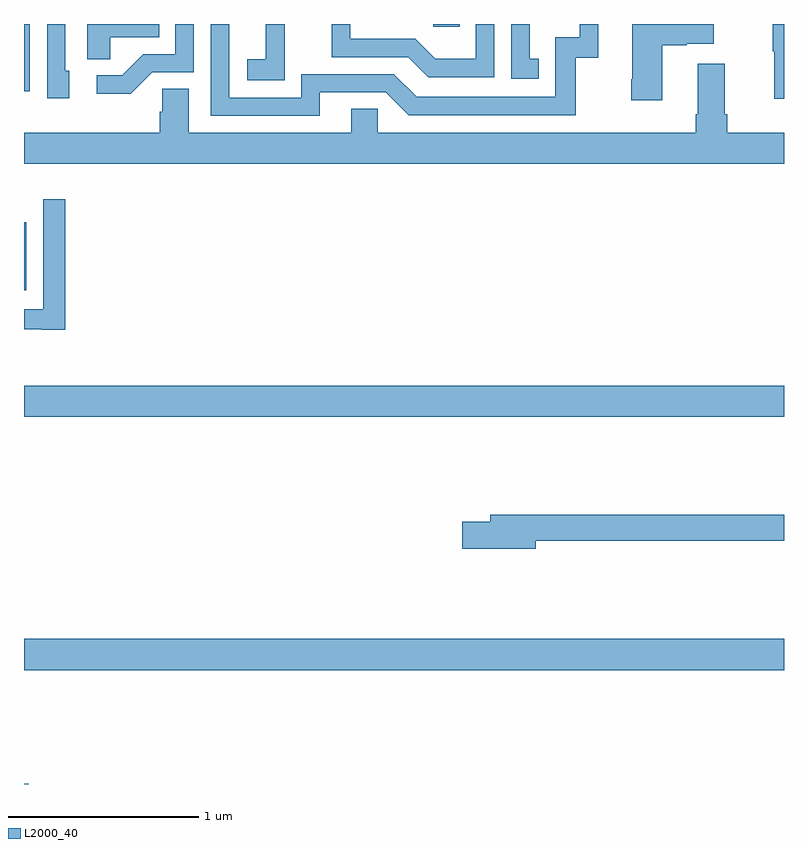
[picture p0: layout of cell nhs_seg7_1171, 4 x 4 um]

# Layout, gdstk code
import gdstk
lib = gdstk.Library(unit=1e-6, precision=1e-09)
def R(c, l, rs):  # rectangles x0, y0, x1, y1
    for r in rs: c.add(gdstk.rectangle(r[:2], r[2:], *l))
def P(c, l, *ps):  # polygons
    for p in ps: c.add(gdstk.Polygon(p, *l))
L2000_40 = (2000, 40)

nhs_seg7_1171 = lib.new_cell('nhs_seg7_1171')
R(nhs_seg7_1171, L2000_40, [(193,1016,193.025,1016.002), (193,1016.6,197,1016.764), (193,1017.932,197,1018.096), (193,1018.598,193.012,1018.957), (193,1019.646,193.029,1020), (195.153,1019.985,195.293,1020)])
P(nhs_seg7_1171, L2000_40, [(194.557,1019.64),(194.904,1019.64),(195.024,1019.52),(195.904,1019.52),(195.904,1019.823),(196.022,1019.823),(196.022,1020),(195.924,1020),(195.924,1019.931),(195.795,1019.931),(195.795,1019.616),(195.066,1019.616),(194.946,1019.736),(194.46,1019.736),(194.46,1019.613),(194.079,1019.613),(194.079,1020),(193.983,1020),(193.983,1019.517),(194.557,1019.517)],
  [(193.237,1019.754),(193.218,1019.754),(193.218,1020),(193.122,1020),(193.122,1019.61),(193.237,1019.61)],
  [(196.36,1019.887),(196.487,1019.887),(196.487,1019.897),(196.63,1019.897),(196.63,1020),(196.202,1020),(196.202,1019.71),(196.195,1019.71),(196.195,1019.598),(196.36,1019.598)],
  [(197,1020),(196.941,1020),(196.941,1019.856),(196.948,1019.856),(196.948,1019.607),(197,1019.607)],
  [(193.674,1019.745),(193.893,1019.745),(193.893,1020),(193.797,1020),(193.797,1019.841),(193.628,1019.841),(193.517,1019.73),(193.383,1019.73),(193.383,1019.633),(193.561,1019.633)],
  [(195.71,1019.817),(195.661,1019.817),(195.661,1020),(195.564,1020),(195.564,1019.712),(195.71,1019.712)],
  [(193.455,1019.93),(193.712,1019.93),(193.712,1020),(193.334,1020),(193.334,1019.815),(193.455,1019.815)],
  [(195.474,1020),(195.378,1020),(195.378,1019.818),(195.164,1019.818),(195.06,1019.922),(194.718,1019.922),(194.718,1020),(194.62,1020),(194.62,1019.826),(195.023,1019.826),(195.128,1019.721),(195.474,1019.721)],
  [(194.373,1019.911),(194.372,1019.911),(194.372,1020),(194.273,1020),(194.273,1019.815),(194.175,1019.815),(194.175,1019.705),(194.373,1019.705)],
  [(197,1019.428),(196.7,1019.428),(196.7,1019.524),(196.687,1019.524),(196.687,1019.791),(196.547,1019.791),(196.547,1019.524),(196.535,1019.524),(196.535,1019.428),(194.862,1019.428),(194.862,1019.555),(194.723,1019.555),(194.723,1019.428),(193.867,1019.428),(193.867,1019.66),(193.728,1019.66),(193.728,1019.537),(193.715,1019.537),(193.715,1019.428),(193,1019.428),(193,1019.264),(197,1019.264)],
  [(193.217,1019.077),(193.101,1019.077),(193.101,1018.498),(193,1018.498),(193,1018.394),(193.094,1018.394),(193.094,1018.392),(193.217,1018.392)],
  [(195.694,1017.28),(197,1017.28),(197,1017.416),(195.455,1017.416),(195.455,1017.38),(195.306,1017.38),(195.306,1017.238),(195.694,1017.238)])

lib.write_gds('nhs_seg7_1171.gds')
